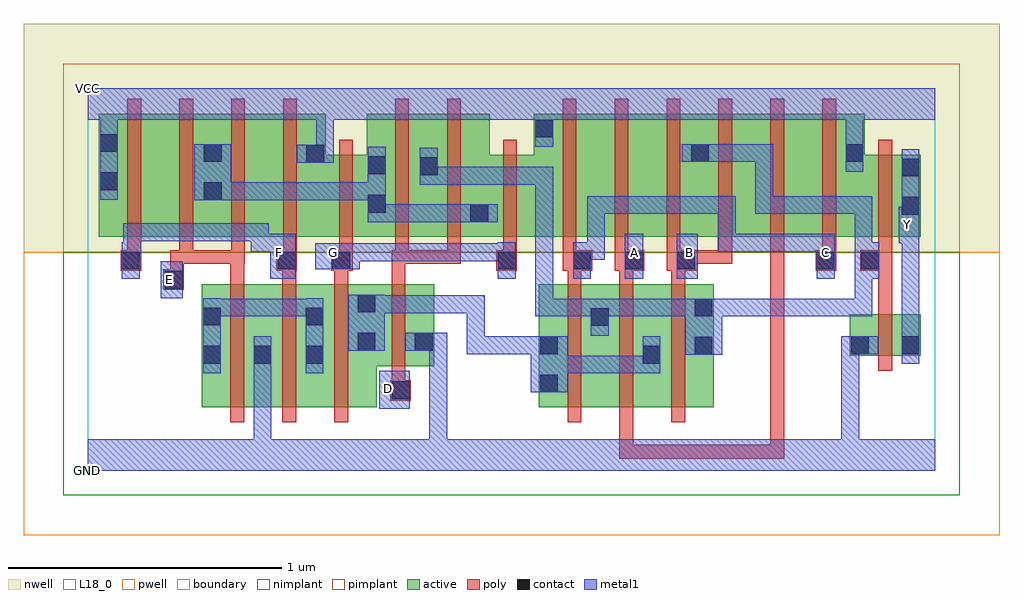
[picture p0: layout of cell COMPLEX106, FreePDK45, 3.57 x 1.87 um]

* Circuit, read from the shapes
.subckt COMPLEX106 A B C D E F G GND VCC Y
M1 GND E n1 VSUBS nfet w=0.45u l=0.05u
M2 n1 F GND VSUBS nfet w=0.45u l=0.05u
M3 n2 G n1 VSUBS nfet w=0.45u l=0.05u
M4 GND D n2 VSUBS nfet w=0.3u l=0.05u
M5 n3 C n2 VSUBS nfet w=0.45u l=0.05u
M6 n2 A n3 VSUBS nfet w=0.45u l=0.05u
M7 n3 B n2 VSUBS nfet w=0.45u l=0.05u
M8 Y n3 GND VSUBS nfet w=0.15u l=0.05u
M9 n4 F VCC n5 pfet w=0.45u l=0.05u
M10 n6 E n4 n5 pfet w=0.45u l=0.05u
M11 n7 E n6 n5 pfet w=0.45u l=0.05u
M12 VCC F n7 n5 pfet w=0.45u l=0.05u
M13 n6 G VCC n5 pfet w=0.3u l=0.05u m=2
M14 n3 D n6 n5 pfet w=0.45u l=0.05u m=2
M15 n8 C VCC n5 pfet w=0.45u l=0.05u
M16 n9 A n8 n5 pfet w=0.45u l=0.05u
M17 n3 B n9 n5 pfet w=0.45u l=0.05u
M18 n10 B n3 n5 pfet w=0.45u l=0.05u
M19 n11 A n10 n5 pfet w=0.45u l=0.05u
M20 VCC C n11 n5 pfet w=0.45u l=0.05u
M21 Y n3 VCC n5 pfet w=0.3u l=0.05u
.ends

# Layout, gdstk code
import gdstk
lib = gdstk.Library(unit=1e-6, precision=1e-09)
def R(c, l, rs):  # rectangles x0, y0, x1, y1
    for r in rs: c.add(gdstk.rectangle(r[:2], r[2:], *l))
def A(c, l, x, y, w, h, nx, ny, dx, dy):  # array of equal rectangles
    R(c, l, [(x+i*dx, y+j*dy, x+i*dx+w, y+j*dy+h) for i in range(nx) for j in range(ny)])
active = (1, 0)
pwell = (2, 0)
nwell = (3, 0)
nimplant = (4, 0)
pimplant = (5, 0)
poly = (9, 0)
contact = (10, 0)
metal1 = (11, 0)
L18_0 = (18, 0)
boundary = (235, 0)

complex106 = lib.new_cell('COMPLEX106')
R(complex106, active, [(0.417,0.232,0.677,0.682), (0.602,0.232,0.867,0.682), (0.792,0.232,1.057,0.682), (0.982,0.232,1.057,0.682), (1.65,0.232,1.725,0.682), (1.65,0.232,1.91,0.682), (1.835,0.232,2.1,0.682), (2.025,0.232,2.29,0.682), (2.025,0.232,2.1,0.547), (2.215,0.232,2.29,0.682), (0.417,0.257,0.492,0.682), (0.602,0.257,0.677,0.542), (0.792,0.295,0.867,0.682), (1.835,0.295,1.91,0.682), (0.982,0.382,1.267,0.682), (1.192,0.382,1.267,0.625), (2.787,0.422,2.862,0.572), (2.787,0.422,3.047,0.572), (2.972,0.422,3.047,0.572), (0.04,0.857,0.115,1.307), (0.04,0.857,0.265,1.307), (0.265,0.857,0.495,1.307), (0.42,0.857,0.645,1.307), (0.42,0.857,0.495,1.2), (0.645,0.857,0.87,1.307), (0.795,0.857,0.87,1.307), (0.795,0.857,1.095,1.157), (1.02,0.857,1.285,1.307), (1.02,0.857,1.095,1.2), (1.21,0.857,1.47,1.307), (1.21,0.857,1.285,1.2), (1.395,0.857,1.707,1.157), (1.632,0.857,1.857,1.307), (1.857,0.857,2.047,1.307), (2.047,0.857,2.277,1.307), (2.202,0.857,2.427,1.307), (2.202,0.857,2.277,1.2), (2.427,0.857,2.617,1.307), (2.617,0.857,2.842,1.307), (2.767,0.857,2.842,1.307), (2.767,0.857,3.047,1.157), (2.972,0.857,3.047,1.157), (1.395,0.905,1.47,1.07), (1.632,0.995,1.707,1.307)])
R(complex106, pwell, [(-0.235,-0.235,3.335,0.8)])
R(complex106, nwell, [(-0.235,0.8,3.335,1.635)])
R(complex106, nimplant, [(-0.09,-0.09,3.19,0.8)])
R(complex106, pimplant, [(-0.09,0.8,3.19,1.49)])
A(complex106, poly, 0.522, 0.177, 0.05, 0.56, 3, 1, 0.19, 0)
A(complex106, poly, 1.755, 0.177, 0.05, 0.56, 3, 1, 0.19, 0)
A(complex106, poly, 1.755, 0.687, 0.05, 0.095, 3, 1, 0.19, 0)
A(complex106, poly, 1.737, 0.732, 0.108, 0.075, 3, 1, 0.19, 0)
A(complex106, poly, 0.145, 0.757, 0.05, 0.095, 4, 1, 0.19, 0)
A(complex106, poly, 1.737, 0.757, 0.05, 0.095, 4, 1, 0.19, 0)
A(complex106, poly, 0.145, 0.802, 0.05, 0.56, 4, 1, 0.19, 0)
A(complex106, poly, 1.737, 0.802, 0.05, 0.56, 6, 1, 0.19, 0)
R(complex106, poly, [(1.945,0.045,1.995,0.095), (1.945,0.045,1.995,0.095), (1.945,0.045,1.995,0.095), (1.945,0.045,2.225,0.095), (1.945,0.045,1.995,0.227), (2.175,0.045,2.225,0.095), (2.175,0.045,2.415,0.095), (2.365,0.045,2.415,0.095), (2.365,0.045,2.415,0.095), (2.365,0.045,2.415,0.095), (2.365,0.045,2.415,0.095), (2.365,0.045,2.415,0.095), (2.365,0.045,2.547,0.095), (2.497,0.045,2.547,0.852), (2.497,0.045,2.547,0.095), (2.497,0.045,2.547,0.095), (2.497,0.045,2.547,0.095), (2.497,0.045,2.547,0.095), (2.497,0.045,2.547,0.095), (2.497,0.045,2.547,0.095), (2.497,0.045,2.547,0.095), (2.497,0.045,2.547,0.095), (2.497,0.045,2.547,0.095), (2.497,0.045,2.547,0.095), (2.497,0.045,2.547,0.095), (1.107,0.257,1.182,0.332), (1.112,0.282,1.162,0.377), (1.112,0.327,1.162,0.737), (2.892,0.367,2.942,0.627), (2.892,0.577,2.942,0.782), (0.277,0.662,0.352,0.737), (0.302,0.687,0.352,0.807), (0.522,0.687,0.572,0.807), (0.712,0.687,0.762,0.782), (0.902,0.687,0.952,0.782), (1.112,0.687,1.162,0.807), (0.12,0.732,0.195,0.807), (0.69,0.732,0.765,0.807), (0.89,0.732,0.97,0.807), (1.495,0.732,1.57,0.807), (2.662,0.732,2.737,0.807), (2.825,0.732,2.942,0.807), (0.302,0.757,0.352,0.807), (0.302,0.757,0.352,0.807), (0.302,0.757,0.385,0.807), (0.335,0.757,0.572,0.807), (0.522,0.757,0.572,0.807), (0.522,0.757,0.572,0.807), (0.522,0.757,0.575,0.807), (0.92,0.757,0.97,0.852), (1.112,0.757,1.175,0.807), (1.125,0.757,1.175,0.852), (1.125,0.757,1.175,0.807), (1.125,0.757,1.175,0.807), (1.125,0.757,1.365,0.807), (1.315,0.757,1.365,0.852), (1.315,0.757,1.365,0.807), (1.52,0.757,1.57,0.852), (2.175,0.757,2.225,0.807), (2.175,0.757,2.225,0.807), (2.175,0.757,2.357,0.807), (2.307,0.757,2.357,0.807), (2.687,0.757,2.737,0.852), (2.892,0.757,2.942,0.852), (0.92,0.802,0.97,1.212), (1.125,0.802,1.175,1.362), (1.315,0.802,1.365,1.362), (1.52,0.802,1.57,1.212), (2.892,0.802,2.942,1.212)])
A(complex106, contact, 1.775, 0.737, 0.065, 0.065, 3, 1, 0.19, 0)
R(complex106, contact, [(1.112,0.262,1.177,0.327), (1.655,0.287,1.72,0.352), (0.422,0.392,0.487,0.457), (0.607,0.392,0.672,0.457), (0.797,0.392,0.862,0.457), (2.03,0.392,2.095,0.457), (2.22,0.425,2.285,0.49), (1.655,0.427,1.72,0.492), (2.792,0.427,2.857,0.492), (2.977,0.427,3.042,0.492), (0.987,0.44,1.052,0.505), (1.197,0.44,1.262,0.505), (1.84,0.53,1.905,0.595), (0.422,0.532,0.487,0.597), (0.797,0.532,0.862,0.597), (2.22,0.565,2.285,0.63), (0.987,0.58,1.052,0.645), (0.282,0.667,0.347,0.732), (0.125,0.737,0.19,0.802), (0.695,0.737,0.76,0.802), (0.895,0.737,0.96,0.802), (1.5,0.737,1.565,0.802), (2.667,0.737,2.732,0.802), (2.83,0.737,2.895,0.802), (1.4,0.91,1.465,0.975), (2.977,0.937,3.042,1.002), (1.025,0.945,1.09,1.01), (0.425,0.99,0.49,1.055), (0.045,1.027,0.11,1.092), (2.977,1.077,3.042,1.142), (1.215,1.082,1.28,1.147), (1.025,1.085,1.09,1.15), (0.8,1.127,0.865,1.192), (0.425,1.13,0.49,1.195), (2.207,1.13,2.272,1.195), (2.772,1.13,2.837,1.195), (0.045,1.167,0.11,1.232), (1.637,1.22,1.702,1.285)])
A(complex106, metal1, 1.637, 0.565, 0.065, 0.065, 3, 1, 0.19, 0)
R(complex106, metal1, [(0,0,3.1,0.115), (0.607,0.05,0.672,0.422), (1.25,0.05,1.315,0.115), (1.25,0.05,1.315,0.115), (1.25,0.05,1.315,0.505), (2.757,0.05,2.822,0.492), (1.067,0.227,1.177,0.367), (1.62,0.287,1.755,0.492), (0.422,0.357,0.487,0.632), (0.607,0.357,0.672,0.422), (0.607,0.357,0.672,0.422), (0.607,0.357,0.672,0.422), (0.607,0.357,0.672,0.422), (0.607,0.357,0.672,0.492), (0.797,0.357,0.862,0.632), (1.69,0.357,1.892,0.422), (1.827,0.357,1.892,0.422), (1.827,0.357,1.892,0.422), (1.827,0.357,1.892,0.422), (1.827,0.357,2.082,0.422), (2.017,0.357,2.082,0.422), (2.017,0.357,2.095,0.422), (2.03,0.357,2.095,0.492), (2.977,0.392,3.042,0.527), (2.185,0.425,2.32,0.63), (1.387,0.427,1.452,0.492), (1.387,0.427,1.685,0.492), (1.387,0.427,1.452,0.642), (1.62,0.427,1.685,0.492), (1.62,0.427,1.685,0.492), (2.757,0.427,2.822,0.492), (2.757,0.427,2.822,0.492), (2.757,0.427,2.822,0.492), (2.757,0.427,2.822,0.492), (2.757,0.427,2.822,0.492), (2.757,0.427,2.822,0.492), (2.757,0.427,2.822,0.492), (2.757,0.427,2.822,0.492), (2.757,0.427,2.892,0.492), (0.952,0.44,1.087,0.645), (1.162,0.44,1.315,0.505), (1.25,0.44,1.315,0.505), (1.25,0.44,1.315,0.505), (1.25,0.44,1.315,0.505), (1.25,0.44,1.315,0.505), (2.977,0.462,3.042,0.897), (1.84,0.495,1.905,0.63), (0.422,0.565,0.487,0.63), (0.422,0.565,0.487,0.63), (0.422,0.565,0.662,0.63), (0.597,0.565,0.662,0.63), (0.597,0.565,0.662,0.63), (0.597,0.565,0.662,0.63), (0.597,0.565,0.862,0.63), (1.637,0.565,1.892,0.63), (1.637,0.565,1.702,1.112), (1.827,0.565,1.905,0.63), (1.84,0.565,2.082,0.63), (2.017,0.565,2.082,0.63), (2.017,0.565,2.082,0.63), (2.017,0.565,2.22,0.63), (2.155,0.565,2.22,0.63), (2.155,0.565,2.25,0.63), (2.255,0.565,2.37,0.63), (2.305,0.565,2.37,0.63), (2.305,0.565,2.507,0.63), (2.442,0.565,2.507,0.63), (2.442,0.565,2.507,0.63), (2.442,0.565,2.507,0.63), (2.442,0.565,2.685,0.63), (2.62,0.565,2.685,0.63), (2.62,0.565,2.685,0.63), (2.62,0.565,2.685,0.63), (2.62,0.565,2.87,0.63), (2.805,0.565,2.87,0.63), (2.805,0.565,2.87,0.837), (1.022,0.577,1.227,0.642), (1.162,0.577,1.227,0.642), (1.162,0.577,1.227,0.642), (1.162,0.577,1.227,0.642), (1.162,0.577,1.427,0.642), (1.362,0.577,1.427,0.642), (1.362,0.577,1.452,0.642), (1.387,0.577,1.452,0.642), (0.267,0.632,0.347,0.767), (0.125,0.702,0.19,0.837), (0.667,0.702,0.76,0.867), (1.5,0.702,1.565,0.837), (1.775,0.702,1.84,0.837), (1.965,0.702,2.032,0.867), (2.155,0.702,2.232,0.867), (2.667,0.702,2.732,0.867), (2.83,0.702,2.895,0.837), (0.832,0.737,0.995,0.832), (0.93,0.767,0.995,0.832), (0.93,0.767,0.995,0.832), (0.93,0.767,1.177,0.832), (1.112,0.767,1.177,0.832), (1.112,0.767,1.28,0.832), (1.215,0.767,1.28,0.832), (1.215,0.767,1.417,0.832), (1.352,0.767,1.417,0.832), (1.352,0.767,1.417,0.832), (1.352,0.767,1.417,0.832), (1.352,0.767,1.565,0.832), (0.125,0.772,0.195,0.837), (0.13,0.772,0.195,0.905), (1.775,0.772,1.892,0.837), (1.827,0.772,1.892,0.837), (1.827,0.772,1.892,1.005), (2.805,0.772,2.87,0.837), (2.805,0.772,2.895,0.837), (2.805,0.772,2.87,1.005), (0.597,0.802,0.732,0.867), (0.597,0.802,0.662,0.905), (2.305,0.802,2.37,0.867), (2.305,0.802,2.37,0.867), (2.305,0.802,2.37,0.867), (2.305,0.802,2.507,0.867), (2.305,0.802,2.37,1.005), (2.442,0.802,2.507,0.867), (2.442,0.802,2.507,0.867), (2.442,0.802,2.507,0.867), (2.442,0.802,2.685,0.867), (2.62,0.802,2.685,0.867), (2.62,0.802,2.732,0.867), (2.967,0.832,3.042,0.967), (0.13,0.84,0.327,0.905), (0.262,0.84,0.327,0.905), (0.262,0.84,0.465,0.905), (0.4,0.84,0.465,0.905), (0.4,0.84,0.465,0.905), (0.4,0.84,0.465,0.905), (0.4,0.84,0.662,0.905), (2.977,0.902,3.042,0.967), (2.977,0.902,3.042,1.177), (1.025,0.91,1.09,1.185), (1.025,0.91,1.227,0.975), (1.162,0.91,1.227,0.975), (1.162,0.91,1.227,0.975), (1.162,0.91,1.227,0.975), (1.162,0.91,1.427,0.975), (1.362,0.91,1.427,0.975), (1.362,0.91,1.43,0.975), (1.365,0.91,1.5,0.975), (1.827,0.94,1.892,1.005), (1.827,0.94,2.042,1.005), (1.977,0.94,2.042,1.005), (1.977,0.94,2.042,1.005), (1.977,0.94,2.042,1.005), (1.977,0.94,2.22,1.005), (2.155,0.94,2.22,1.005), (2.155,0.94,2.37,1.005), (2.305,0.94,2.37,1.005), (2.442,0.94,2.507,1.005), (2.442,0.94,2.507,1.005), (2.442,0.94,2.507,1.005), (2.442,0.94,2.645,1.005), (2.442,0.94,2.507,1.195), (2.58,0.94,2.645,1.005), (2.58,0.94,2.645,1.005), (2.58,0.94,2.645,1.005), (2.58,0.94,2.87,1.005), (2.805,0.94,2.87,1.005), (0.39,0.99,0.525,1.195), (0.46,0.99,0.525,1.055), (0.46,0.99,0.525,1.055), (0.46,0.99,0.662,1.055), (0.597,0.99,0.662,1.055), (0.597,0.99,0.662,1.055), (0.597,0.99,0.662,1.055), (0.597,0.99,0.8,1.055), (0.735,0.99,0.8,1.055), (0.735,0.99,0.8,1.055), (0.735,0.99,0.8,1.055), (0.735,0.99,1.09,1.055), (0.045,0.992,0.11,1.267), (1.215,1.047,1.28,1.182), (1.215,1.047,1.365,1.112), (1.3,1.047,1.365,1.112), (1.3,1.047,1.547,1.112), (1.482,1.047,1.547,1.112), (1.482,1.047,1.6,1.112), (1.535,1.047,1.6,1.112), (1.535,1.047,1.702,1.112), (1.637,1.047,1.702,1.112), (1.637,1.047,1.702,1.112), (1.637,1.047,1.702,1.112), (1.637,1.047,1.702,1.112), (1.637,1.047,1.702,1.112), (2.772,1.095,2.837,1.23), (0.765,1.127,0.9,1.192), (0.835,1.127,0.9,1.35), (2.172,1.13,2.307,1.195), (2.242,1.13,2.37,1.195), (2.305,1.13,2.37,1.195), (2.305,1.13,2.507,1.195), (2.442,1.13,2.507,1.195), (2.772,1.165,2.837,1.35), (1.637,1.185,1.702,1.32), (0.045,1.202,0.11,1.35), (1.637,1.255,1.702,1.35), (0,1.285,3.1,1.4)])
R(complex106, L18_0, [(0,0,3.1,0.115), (0.607,0.05,0.672,0.422), (1.25,0.05,1.315,0.115), (1.25,0.05,1.315,0.115), (1.25,0.05,1.315,0.505), (2.757,0.05,2.822,0.492), (1.067,0.227,1.177,0.367), (1.067,0.267,1.132,0.332), (0.607,0.357,0.672,0.492), (0.607,0.357,0.672,0.422), (0.607,0.357,0.672,0.422), (0.607,0.357,0.672,0.422), (0.607,0.357,0.672,0.422), (2.977,0.392,3.042,0.527), (2.757,0.427,2.822,0.492), (2.757,0.427,2.822,0.492), (2.757,0.427,2.822,0.492), (2.757,0.427,2.822,0.492), (2.757,0.427,2.822,0.492), (2.757,0.427,2.822,0.492), (2.757,0.427,2.822,0.492), (2.757,0.427,2.822,0.492), (2.757,0.427,2.892,0.492), (1.162,0.44,1.315,0.505), (1.25,0.44,1.315,0.505), (1.25,0.44,1.315,0.505), (1.25,0.44,1.315,0.505), (1.25,0.44,1.315,0.505), (2.977,0.462,3.042,0.897), (0.267,0.632,0.347,0.767), (0.267,0.667,0.332,0.732), (0.125,0.702,0.19,0.837), (0.667,0.702,0.76,0.867), (1.5,0.702,1.565,0.837), (1.775,0.702,1.84,0.837), (1.965,0.702,2.032,0.867), (2.155,0.702,2.232,0.867), (2.667,0.702,2.732,0.867), (0.832,0.737,0.995,0.832), (0.667,0.767,0.732,0.832), (0.867,0.767,0.932,0.832), (0.93,0.767,0.995,0.832), (0.93,0.767,0.995,0.832), (0.93,0.767,1.177,0.832), (1.112,0.767,1.177,0.832), (1.112,0.767,1.28,0.832), (1.215,0.767,1.28,0.832), (1.215,0.767,1.417,0.832), (1.352,0.767,1.417,0.832), (1.352,0.767,1.417,0.832), (1.352,0.767,1.417,0.832), (1.352,0.767,1.565,0.832), (1.967,0.767,2.032,0.832), (2.167,0.767,2.232,0.832), (2.667,0.767,2.732,0.832), (0.125,0.772,0.195,0.837), (0.13,0.772,0.195,0.905), (1.775,0.772,1.892,0.837), (1.827,0.772,1.892,0.837), (1.827,0.772,1.892,1.005), (0.597,0.802,0.662,0.905), (0.597,0.802,0.732,0.867), (2.305,0.802,2.37,0.867), (2.305,0.802,2.37,0.867), (2.305,0.802,2.37,0.867), (2.305,0.802,2.507,0.867), (2.305,0.802,2.37,1.005), (2.442,0.802,2.507,0.867), (2.442,0.802,2.507,0.867), (2.442,0.802,2.507,0.867), (2.442,0.802,2.685,0.867), (2.62,0.802,2.685,0.867), (2.62,0.802,2.732,0.867), (2.967,0.832,3.042,0.967), (0.13,0.84,0.327,0.905), (0.262,0.84,0.327,0.905), (0.262,0.84,0.465,0.905), (0.4,0.84,0.465,0.905), (0.4,0.84,0.465,0.905), (0.4,0.84,0.465,0.905), (0.4,0.84,0.662,0.905), (2.967,0.867,3.032,0.932), (2.977,0.902,3.042,1.177), (2.977,0.902,3.042,0.967), (1.827,0.94,1.892,1.005), (1.827,0.94,2.042,1.005), (1.977,0.94,2.042,1.005), (1.977,0.94,2.042,1.005), (1.977,0.94,2.042,1.005), (1.977,0.94,2.22,1.005), (2.155,0.94,2.22,1.005), (2.155,0.94,2.37,1.005), (2.305,0.94,2.37,1.005), (0.045,0.992,0.11,1.267), (2.772,1.095,2.837,1.23), (0.765,1.127,0.9,1.192), (0.835,1.127,0.9,1.35), (2.772,1.165,2.837,1.35), (1.637,1.185,1.702,1.32), (0.045,1.202,0.11,1.35), (1.637,1.255,1.702,1.35), (0,1.285,3.1,1.4)])
R(complex106, boundary, [(0,0,3.1,1.4)])
complex106.add(gdstk.Label('A', (2,0.8), layer=11, texttype=0))
complex106.add(gdstk.Label('B', (2.2,0.8), layer=11, texttype=0))
complex106.add(gdstk.Label('C', (2.7,0.8), layer=11, texttype=0))
complex106.add(gdstk.Label('D', (1.1,0.3), layer=11, texttype=0))
complex106.add(gdstk.Label('E', (0.3,0.7), layer=11, texttype=0))
complex106.add(gdstk.Label('F', (0.7,0.8), layer=11, texttype=0))
complex106.add(gdstk.Label('G', (0.9,0.8), layer=11, texttype=0))
complex106.add(gdstk.Label('Y', (3,0.9), layer=11, texttype=0))
complex106.add(gdstk.Label('VCC', (0,1.4), layer=11, texttype=0))
complex106.add(gdstk.Label('GND', (0,0), layer=11, texttype=0))

lib.write_gds('COMPLEX106.gds')
